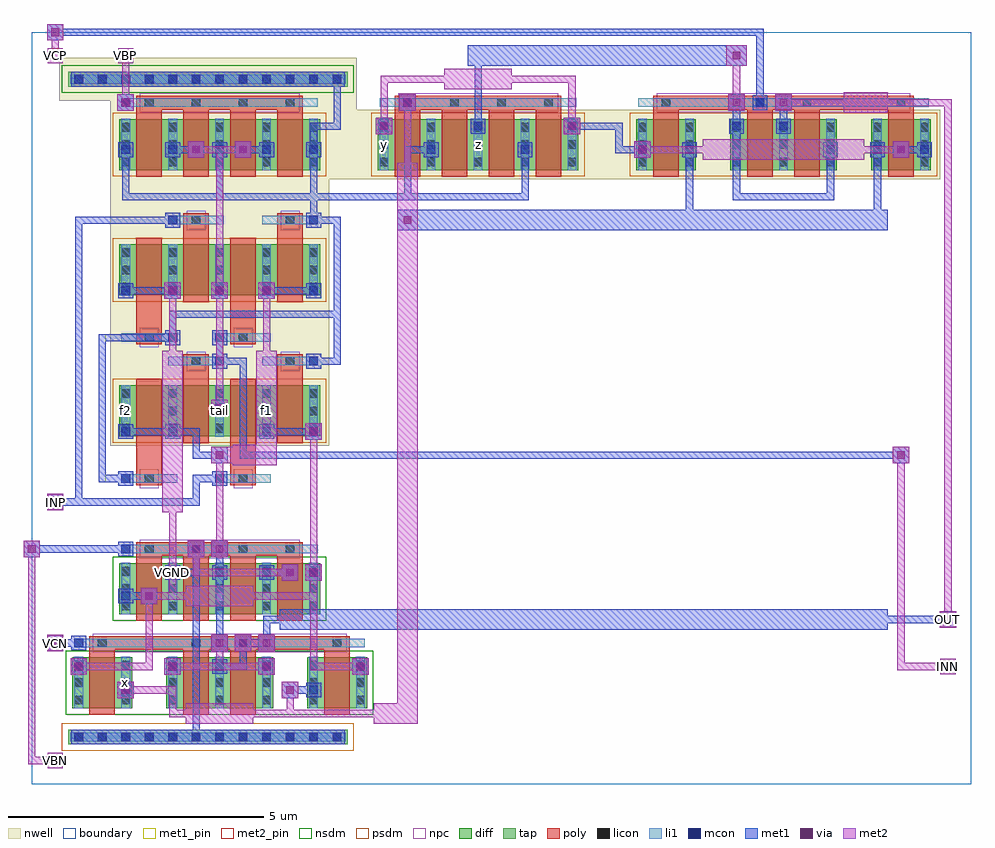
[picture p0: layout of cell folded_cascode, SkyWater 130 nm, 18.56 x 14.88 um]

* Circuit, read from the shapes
.subckt folded_cascode INN INP OUT VBN VBP VCN VCP VGND VPWR f1 f2 tail x y z
XM1 x VCN f1 VGND sky130_fd_pr__nfet_01v8 w=1 l=0.5 m=2
XM2 VGND VBN f1 VGND sky130_fd_pr__nfet_01v8 w=1 l=0.5 m=2
XM3 OUT VCN f2 VGND sky130_fd_pr__nfet_01v8 w=1 l=0.5 m=2
XM4 f2 VBN VGND VGND sky130_fd_pr__nfet_01v8 w=1 l=0.5 m=2
XM5 f2 VPWR f2 VPWR sky130_fd_pr__pfet_01v8 w=1 l=0.5 m=2
XM6 f1 VPWR f1 VPWR sky130_fd_pr__pfet_01v8 w=1 l=0.5 m=2
XM7 tail VBP VPWR VPWR sky130_fd_pr__pfet_01v8 w=1 l=0.5 m=4
XM8 tail INN f2 VPWR sky130_fd_pr__pfet_01v8 w=1 l=0.5 m=2
XM9 tail INP f1 VPWR sky130_fd_pr__pfet_01v8 w=1 l=0.5 m=2
XM10 VPWR x y VPWR sky130_fd_pr__pfet_01v8 w=1 l=0.5 m=2
XM11 z x VPWR VPWR sky130_fd_pr__pfet_01v8 w=1 l=0.5 m=2
XM12 x VCP y VPWR sky130_fd_pr__pfet_01v8 w=1 l=0.5 m=2
XM13 OUT VCP z VPWR sky130_fd_pr__pfet_01v8 w=1 l=0.5 m=2
.ends

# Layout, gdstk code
import gdstk
lib = gdstk.Library(unit=1e-6, precision=1e-09)
def R(c, l, rs):  # rectangles x0, y0, x1, y1
    for r in rs: c.add(gdstk.rectangle(r[:2], r[2:], *l))
def A(c, l, x, y, w, h, nx, ny, dx, dy):  # array of equal rectangles
    R(c, l, [(x+i*dx, y+j*dy, x+i*dx+w, y+j*dy+h) for i in range(nx) for j in range(ny)])
nwell = (64, 20)
diff = (65, 20)
tap = (65, 44)
poly = (66, 20)
licon = (66, 44)
li1 = (67, 20)
mcon = (67, 44)
met1_pin = (68, 16)
met1 = (68, 20)
via = (68, 44)
met2_pin = (69, 16)
met2 = (69, 20)
nsdm = (93, 44)
psdm = (94, 20)
npc = (95, 20)
boundary = (235, 4)

folded_cascode = lib.new_cell('folded_cascode')
R(folded_cascode, nwell, [(1.535,6.625,5.825,11.84), (1.535,11.84,17.785,13.2), (1.535,13.2,6.365,13.38), (0.535,13.38,6.365,14.22)])
R(folded_cascode, diff, [(0.795,1.485,1.965,2.485), (2.635,1.485,4.725,2.485), (5.395,1.485,6.565,2.485), (1.715,3.325,5.645,4.325), (1.715,6.805,5.645,7.805), (1.715,9.565,5.645,10.565), (1.715,12.02,5.645,13.02), (6.775,12.02,10.705,13.02), (11.835,12.02,13.005,13.02), (13.675,12.02,15.765,13.02), (16.435,12.02,17.605,13.02)])
R(folded_cascode, tap, [(0.715,0.775,6.185,1.065), (0.715,13.655,6.185,13.945)])
A(folded_cascode, poly, 2.05, 3.195, 0.5, 1.405, 4, 1, 0.92, 0)
A(folded_cascode, poly, 2.05, 11.89, 0.5, 1.45, 4, 1, 0.92, 0)
A(folded_cascode, poly, 7.11, 11.89, 0.5, 1.45, 4, 1, 0.92, 0)
R(folded_cascode, poly, [(1.13,1.355,1.63,2.76), (2.97,1.355,3.47,2.76), (3.89,1.355,4.39,2.76), (5.73,1.355,6.23,2.76), (1.13,2.625,6.23,2.895), (2.05,4.465,5.31,4.735), (2.05,5.845,2.55,6.115), (3.89,5.845,4.39,6.115), (2.05,5.98,2.55,7.935), (3.89,5.98,4.39,7.935), (2.97,6.675,3.47,8.28), (4.81,6.675,5.31,8.28), (2.97,8.145,3.47,8.415), (4.81,8.145,5.31,8.415), (2.05,8.605,2.55,8.875), (3.89,8.605,4.39,8.875), (2.05,8.74,2.55,10.695), (3.89,8.74,4.39,10.695), (2.97,9.435,3.47,11.04), (4.81,9.435,5.31,11.04), (2.97,10.905,3.47,11.175), (4.81,10.905,5.31,11.175), (12.17,11.89,12.67,13.34), (14.01,11.89,14.51,13.34), (14.93,11.89,15.43,13.34), (16.77,11.89,17.27,13.34), (2.05,13.205,5.31,13.475), (7.11,13.205,10.37,13.475), (12.17,13.205,17.27,13.475)])
A(folded_cascode, licon, 0.835, 0.835, 0.17, 0.17, 12, 2, 0.46, 12.88)
A(folded_cascode, licon, 0.835, 1.56, 0.17, 0.17, 7, 3, 0.92, 0.34)
A(folded_cascode, licon, 1.755, 3.4, 0.17, 0.17, 5, 3, 0.92, 0.34)
A(folded_cascode, licon, 2.215, 4.515, 0.17, 0.17, 4, 2, 0.92, 8.74)
A(folded_cascode, licon, 1.755, 6.88, 0.17, 0.17, 5, 3, 0.92, 0.34)
A(folded_cascode, licon, 1.755, 9.64, 0.17, 0.17, 5, 3, 0.92, 0.34)
A(folded_cascode, licon, 1.755, 12.095, 0.17, 0.17, 5, 3, 0.92, 0.34)
A(folded_cascode, licon, 6.815, 12.095, 0.17, 0.17, 5, 3, 0.92, 0.34)
A(folded_cascode, licon, 11.875, 12.095, 0.17, 0.17, 7, 3, 0.92, 0.34)
A(folded_cascode, licon, 7.275, 13.255, 0.17, 0.17, 4, 1, 0.92, 0)
R(folded_cascode, licon, [(1.295,2.675,1.465,2.845), (3.135,2.675,3.305,2.845), (4.055,2.675,4.225,2.845), (5.895,2.675,6.065,2.845), (2.215,5.895,2.385,6.065), (4.055,5.895,4.225,6.065), (3.135,8.195,3.305,8.365), (4.975,8.195,5.145,8.365), (2.215,8.655,2.385,8.825), (4.055,8.655,4.225,8.825), (3.135,10.955,3.305,11.125), (4.975,10.955,5.145,11.125), (12.335,13.255,12.505,13.425), (14.175,13.255,14.345,13.425), (15.095,13.255,15.265,13.425), (16.935,13.255,17.105,13.425)])
A(folded_cascode, li1, 0.835, 1.48, 0.17, 1.01, 7, 1, 0.92, 0)
A(folded_cascode, li1, 1.755, 3.32, 0.17, 1.01, 5, 2, 0.92, 3.48)
A(folded_cascode, li1, 1.755, 9.56, 0.17, 1.01, 5, 2, 0.92, 2.455)
A(folded_cascode, li1, 6.815, 12.015, 0.17, 1.01, 5, 1, 0.92, 0)
A(folded_cascode, li1, 11.875, 12.015, 0.17, 1.01, 7, 1, 0.92, 0)
R(folded_cascode, li1, [(0.755,0.835,6.145,1.005), (0.835,2.675,6.525,2.845), (1.755,4.515,5.605,4.685), (1.755,5.895,2.845,6.065), (3.595,5.895,4.685,6.065), (2.675,8.195,3.765,8.365), (4.515,8.195,5.605,8.365), (1.755,8.655,2.845,8.825), (3.595,8.655,4.685,8.825), (2.675,10.955,3.765,11.125), (4.515,10.955,5.605,11.125), (1.755,13.255,5.605,13.425), (6.815,13.255,10.665,13.425), (11.875,13.255,17.565,13.425), (0.755,13.715,6.145,13.885)])
A(folded_cascode, mcon, 0.835, 0.835, 0.17, 0.17, 12, 2, 0.46, 12.88)
A(folded_cascode, mcon, 2.675, 2.215, 0.17, 0.17, 3, 1, 0.92, 0)
A(folded_cascode, mcon, 2.675, 4.055, 0.17, 0.17, 4, 1, 0.92, 0)
A(folded_cascode, mcon, 1.755, 9.575, 0.17, 0.17, 5, 2, 0.92, 2.76)
A(folded_cascode, mcon, 15.555, 12.335, 0.17, 0.17, 3, 1, 0.92, 0)
A(folded_cascode, mcon, 6.815, 12.795, 0.17, 0.17, 3, 1, 1.84, 0)
R(folded_cascode, mcon, [(1.755,1.755,1.925,1.925), (5.435,1.755,5.605,1.925), (0.835,2.215,1.005,2.385), (6.355,2.215,6.525,2.385), (0.835,2.675,1.005,2.845), (1.755,3.595,1.925,3.765), (1.755,4.515,1.925,4.685), (1.755,5.895,1.925,6.065), (3.595,5.895,3.765,6.065), (1.755,6.815,1.925,6.985), (2.675,6.815,2.845,6.985), (4.515,6.815,4.685,6.985), (5.435,6.815,5.605,6.985), (3.595,7.275,3.765,7.445), (3.595,8.195,3.765,8.365), (5.435,8.195,5.605,8.365), (2.675,8.655,2.845,8.825), (3.595,8.655,3.765,8.825), (2.675,10.955,2.845,11.125), (5.435,10.955,5.605,11.125), (7.735,12.335,7.905,12.505), (9.575,12.335,9.745,12.505), (11.875,12.335,12.045,12.505), (12.795,12.335,12.965,12.505), (13.715,12.795,13.885,12.965), (14.635,12.795,14.805,12.965), (1.755,13.255,1.925,13.425), (7.275,13.255,7.445,13.425), (14.175,13.255,14.345,13.425)])
R(folded_cascode, met1_pin, [(2.615,3.995,2.905,4.285), (1.31,5.91,1.45,8.81)])
A(folded_cascode, met1, 0.76, 2.14, 0.32, 0.32, 4, 1, 1.84, 0)
A(folded_cascode, met1, 2.615, 2.155, 0.29, 0.29, 3, 1, 0.92, 0)
A(folded_cascode, met1, 3.52, 2.6, 0.32, 0.32, 3, 1, 0.46, 0)
A(folded_cascode, met1, 2.615, 3.995, 0.29, 0.29, 4, 1, 0.92, 0)
A(folded_cascode, met1, 2.6, 9.5, 0.32, 0.32, 3, 1, 0.92, 0)
A(folded_cascode, met1, 1.695, 9.515, 0.29, 0.29, 5, 2, 0.92, 2.76)
A(folded_cascode, met1, 1.77, 11.43, 1.98, 0.14, 3, 1, 1.84, 0)
A(folded_cascode, met1, 1.77, 11.43, 0.14, 1.06, 4, 1, 1.84, 0)
A(folded_cascode, met1, 15.495, 12.275, 0.29, 0.29, 3, 1, 0.92, 0)
A(folded_cascode, met1, 6.755, 12.735, 0.29, 0.29, 3, 1, 1.84, 0)
R(folded_cascode, met1, [(0.775,0.775,6.125,1.065), (3.15,0.85,3.29,0.99), (3.15,0.85,3.29,4.21), (1.68,1.68,2,2), (4.9,1.68,5.22,2), (1.695,1.695,1.985,1.985), (5.375,1.695,5.665,1.985), (4.99,1.77,5.59,1.91), (0.775,2.155,1.065,2.445), (6.295,2.155,6.585,2.445), (3.61,2.23,4.21,2.37), (4.07,2.23,4.21,2.83), (0.3,2.6,0.62,2.92), (0.775,2.615,1.065,2.905), (0.39,2.69,0.99,2.83), (3.61,2.69,3.75,4.21), (4.53,2.69,4.67,3.29), (4.86,3.02,16.76,3.42), (17.78,3.06,18.1,3.38), (4.53,3.15,5.13,3.29), (16.49,3.15,18.01,3.29), (2.14,3.52,2.46,3.84), (1.695,3.535,1.985,3.825), (1.77,3.61,2.37,3.75), (4.9,3.98,5.22,4.3), (5.36,3.98,5.68,4.3), (2.69,4.07,3.29,4.21), (3.15,4.07,3.29,4.67), (3.61,4.07,3.75,4.67), (4.53,4.07,5.13,4.21), (-0.16,4.44,0.16,4.76), (3.06,4.44,3.38,4.76), (3.52,4.44,3.84,4.76), (1.695,4.455,1.985,4.745), (-0.07,4.53,1.91,4.67), (0.3,5.36,0.62,5.68), (0.39,5.45,3.29,5.59), (0.85,5.45,0.99,11.11), (3.15,5.45,3.29,6.05), (1.695,5.835,1.985,6.125), (3.535,5.835,3.825,6.125), (1.31,5.91,1.45,8.81), (1.31,5.91,1.91,6.05), (3.15,5.91,3.75,6.05), (3.52,6.28,3.84,6.6), (16.86,6.28,17.18,6.6), (3.15,6.37,3.29,6.97), (3.15,6.37,3.75,6.51), (4.07,6.37,4.21,8.35), (4.07,6.37,17.09,6.51), (5.36,6.74,5.68,7.06), (1.695,6.755,1.985,7.045), (2.615,6.755,2.905,7.045), (4.455,6.755,4.745,7.045), (5.375,6.755,5.665,7.045), (1.77,6.83,2.83,6.97), (2.69,6.83,3.29,6.97), (4.53,6.83,5.59,6.97), (3.52,7.2,3.84,7.52), (3.535,7.215,3.825,7.505), (3.535,8.135,3.825,8.425), (5.375,8.135,5.665,8.425), (3.61,8.21,3.75,8.81), (3.61,8.21,4.21,8.35), (5.45,8.21,6.05,8.35), (5.91,8.21,6.05,11.11), (2.615,8.595,2.905,8.885), (3.535,8.595,3.825,8.885), (1.31,8.67,2.83,8.81), (2.69,8.67,2.83,9.27), (2.69,9.13,6.05,9.27), (1.77,9.59,2.83,9.73), (4.53,9.59,5.59,9.73), (7.16,10.84,13.08,11.24), (7.16,10.84,7.56,11.24), (12.68,10.84,16.76,11.24), (2.615,10.895,2.905,11.185), (5.375,10.895,5.665,11.185), (0.85,10.97,2.83,11.11), (5.45,10.97,5.59,11.57), (5.45,10.97,6.05,11.11), (12.81,10.97,12.95,12.49), (16.49,10.97,16.63,12.49), (7.29,11.43,9.73,11.57), (9.59,11.43,9.73,12.49), (13.73,11.43,13.87,12.95), (13.73,11.43,15.71,11.57), (15.57,11.43,15.71,12.49), (3.06,12.26,3.38,12.58), (3.98,12.26,4.3,12.58), (11.8,12.26,12.12,12.58), (16.86,12.26,17.18,12.58), (7.675,12.275,7.965,12.565), (9.515,12.275,9.805,12.565), (11.815,12.275,12.105,12.565), (12.735,12.275,13.025,12.565), (2.69,12.35,3.29,12.49), (4.07,12.35,4.67,12.49), (5.45,12.35,5.59,12.95), (7.29,12.35,7.89,12.49), (11.43,12.35,11.57,12.95), (11.43,12.35,12.03,12.49), (16.95,12.35,17.55,12.49), (6.74,12.72,7.06,13.04), (10.42,12.72,10.74,13.04), (13.655,12.735,13.945,13.025), (14.575,12.735,14.865,13.025), (5.45,12.81,6.05,12.95), (5.91,12.81,6.05,13.87), (8.67,12.81,8.81,14.33), (10.51,12.81,11.57,12.95), (13.73,12.81,13.87,13.41), (14.65,12.81,14.79,13.41), (1.68,13.18,2,13.5), (7.2,13.18,7.52,13.5), (13.64,13.18,13.96,13.5), (14.56,13.18,14.88,13.5), (1.695,13.195,1.985,13.485), (7.215,13.195,7.505,13.485), (14.115,13.195,14.405,13.485), (14.19,13.27,14.33,14.79), (0.775,13.655,6.125,13.945), (5.91,13.73,6.05,13.87), (8.54,14.06,14,14.46), (13.6,14.06,14,14.46), (0.3,14.56,0.62,14.88), (0.39,14.65,14.33,14.79)])
A(folded_cascode, via, 0.845, 2.225, 0.15, 0.15, 4, 1, 1.84, 0)
A(folded_cascode, via, 3.605, 2.685, 0.15, 0.15, 3, 1, 0.46, 0)
A(folded_cascode, via, 2.685, 9.585, 0.15, 0.15, 3, 1, 0.92, 0)
R(folded_cascode, via, [(1.765,1.765,1.915,1.915), (4.985,1.765,5.135,1.915), (0.385,2.685,0.535,2.835), (17.865,3.145,18.015,3.295), (2.225,3.605,2.375,3.755), (4.985,4.065,5.135,4.215), (5.445,4.065,5.595,4.215), (-0.075,4.525,0.075,4.675), (3.145,4.525,3.295,4.675), (3.605,4.525,3.755,4.675), (0.385,5.445,0.535,5.595), (3.605,6.365,3.755,6.515), (16.945,6.365,17.095,6.515), (5.445,6.825,5.595,6.975), (3.605,7.285,3.755,7.435), (7.285,10.965,7.435,11.115), (3.145,12.345,3.295,12.495), (4.065,12.345,4.215,12.495), (11.885,12.345,12.035,12.495), (16.945,12.345,17.095,12.495), (6.825,12.805,6.975,12.955), (10.505,12.805,10.655,12.955), (1.765,13.265,1.915,13.415), (7.285,13.265,7.435,13.415), (13.725,13.265,13.875,13.415), (14.645,13.265,14.795,13.415), (13.725,14.185,13.875,14.335), (0.385,14.645,0.535,14.795)])
R(folded_cascode, met2_pin, [(0.31,0.31,0.61,0.61), (17.79,2.15,18.09,2.45), (0.31,2.61,0.61,2.91), (17.79,3.07,18.09,3.37), (0.31,5.37,0.61,5.67), (0.31,14.11,0.61,14.41), (1.69,14.11,1.99,14.41)])
A(folded_cascode, met2, 0.76, 2.14, 0.32, 0.32, 4, 1, 1.84, 0)
A(folded_cascode, met2, 3.52, 2.6, 0.32, 0.32, 3, 1, 0.46, 0)
A(folded_cascode, met2, 2.6, 9.5, 0.32, 0.32, 3, 1, 0.92, 0)
R(folded_cascode, met2, [(0.31,0.31,0.61,0.61), (-0.07,0.39,0.53,0.53), (-0.07,0.39,0.07,4.67), (0.39,0.39,0.53,0.53), (3.02,1.18,4.34,1.58), (6.7,1.18,7.56,1.58), (7.16,1.18,7.56,12.16), (2.69,1.31,3.29,1.45), (2.69,1.31,2.83,1.91), (4.07,1.31,5.13,1.45), (4.99,1.31,5.13,1.91), (4.99,1.31,6.97,1.45), (1.68,1.68,2,2), (4.9,1.68,5.22,2), (1.77,1.77,2.83,1.91), (17.79,2.15,18.09,2.45), (0.85,2.23,2.37,2.37), (2.23,2.23,2.37,3.75), (2.69,2.23,3.75,2.37), (3.61,2.23,4.67,2.37), (3.61,2.23,3.75,2.83), (5.45,2.23,6.51,2.37), (5.45,2.23,5.59,4.21), (16.95,2.23,18.01,2.37), (16.95,2.23,17.09,6.51), (17.87,2.23,18.01,2.37), (0.3,2.6,0.62,2.92), (0.31,2.61,0.61,2.91), (0.39,2.69,0.53,2.83), (4.07,2.69,4.67,2.83), (17.78,3.06,18.1,3.38), (17.79,3.07,18.09,3.37), (17.87,3.15,18.01,13.41), (17.87,3.15,18.01,3.29), (3.02,3.48,4.34,3.88), (2.14,3.52,2.46,3.84), (2.23,3.61,3.29,3.75), (2.69,3.61,2.83,5.59), (4.07,3.61,5.59,3.75), (4.9,3.98,5.22,4.3), (5.36,3.98,5.68,4.3), (3.15,4.07,3.29,4.67), (3.15,4.07,5.13,4.21), (5.45,4.07,5.59,6.97), (-0.16,4.44,0.16,4.76), (3.06,4.44,3.38,4.76), (3.52,4.44,3.84,4.76), (3.61,4.53,3.75,6.51), (2.56,5.32,2.96,8.48), (0.3,5.36,0.62,5.68), (0.31,5.37,0.61,5.67), (0.39,5.45,0.53,5.59), (3.94,6.24,4.8,6.64), (4.4,6.24,4.8,8.48), (3.52,6.28,3.84,6.6), (3.84,6.28,3.94,6.6), (16.86,6.28,17.18,6.6), (3.61,6.37,4.21,6.51), (5.36,6.74,5.68,7.06), (3.52,7.2,3.84,7.52), (3.61,7.29,3.75,9.73), (2.69,8.21,2.83,9.73), (4.53,8.21,4.67,9.73), (3.61,9.59,3.75,12.49), (7.16,10.84,7.56,11.24), (7.29,11.89,7.43,13.41), (13.14,12.22,16.3,12.62), (3.06,12.26,3.38,12.58), (3.98,12.26,4.3,12.58), (11.8,12.26,12.12,12.58), (16.86,12.26,17.18,12.58), (3.15,12.35,3.75,12.49), (3.61,12.35,4.21,12.49), (11.89,12.35,13.41,12.49), (16.03,12.35,17.09,12.49), (6.74,12.72,7.06,13.04), (10.42,12.72,10.74,13.04), (6.83,12.81,6.97,13.87), (10.51,12.81,10.65,13.87), (15.9,13.14,16.76,13.54), (1.68,13.18,2,13.5), (7.2,13.18,7.52,13.5), (13.64,13.18,13.96,13.5), (14.56,13.18,14.88,13.5), (1.77,13.27,1.91,14.33), (13.73,13.27,13.87,14.33), (14.65,13.27,16.17,13.41), (16.49,13.27,18.01,13.41), (8.08,13.6,9.4,14), (6.83,13.73,8.35,13.87), (9.13,13.73,10.65,13.87), (13.6,14.06,14,14.46), (0.31,14.11,0.61,14.41), (1.69,14.11,1.99,14.41), (0.39,14.19,0.53,14.33), (0.39,14.19,0.53,14.79), (1.77,14.19,1.91,14.33), (0.3,14.56,0.62,14.88)])
R(folded_cascode, nsdm, [(0.67,1.36,6.69,2.61), (1.59,3.2,5.77,4.45), (0.59,13.53,6.31,14.07)])
R(folded_cascode, psdm, [(0.59,0.65,6.31,1.19), (1.59,6.68,5.77,7.93), (1.59,9.44,5.77,10.69), (1.59,11.895,5.77,13.145), (6.65,11.895,10.83,13.145), (11.71,11.895,17.73,13.145)])
R(folded_cascode, npc, [(1.195,2.575,6.165,2.945), (2.115,4.415,5.245,4.785), (2.115,5.795,2.485,6.165), (3.955,5.795,4.325,6.165), (3.035,8.095,3.405,8.465), (4.875,8.095,5.245,8.465), (2.115,8.555,2.485,8.925), (3.955,8.555,4.325,8.925), (3.035,10.855,3.405,11.225), (4.875,10.855,5.245,11.225), (2.115,13.155,5.245,13.525), (7.175,13.155,10.305,13.525), (12.235,13.155,17.205,13.525)])
R(folded_cascode, boundary, [(0,0,18.4,14.72)])
folded_cascode.add(gdstk.Label('f2', (1.84,7.305), layer=67, texttype=5))
folded_cascode.add(gdstk.Label('tail', (3.68,7.305), layer=67, texttype=5))
folded_cascode.add(gdstk.Label('f1', (4.6,7.305), layer=67, texttype=5))
folded_cascode.add(gdstk.Label('x', (1.84,1.985), layer=67, texttype=5))
folded_cascode.add(gdstk.Label('y', (6.9,12.52), layer=67, texttype=5))
folded_cascode.add(gdstk.Label('z', (8.74,12.52), layer=67, texttype=5))
folded_cascode.add(gdstk.Label('VPWR', (1.38,7.36), layer=68, texttype=5))
folded_cascode.add(gdstk.Label('VGND', (2.76,4.14), layer=68, texttype=5))
folded_cascode.add(gdstk.Label('INP', (0.46,5.52), layer=69, texttype=5))
folded_cascode.add(gdstk.Label('INN', (17.94,2.3), layer=69, texttype=5))
folded_cascode.add(gdstk.Label('VBP', (1.84,14.26), layer=69, texttype=5))
folded_cascode.add(gdstk.Label('VBN', (0.46,0.46), layer=69, texttype=5))
folded_cascode.add(gdstk.Label('VCN', (0.46,2.76), layer=69, texttype=5))
folded_cascode.add(gdstk.Label('VCP', (0.46,14.26), layer=69, texttype=5))
folded_cascode.add(gdstk.Label('OUT', (17.94,3.22), layer=69, texttype=5))
folded_cascode.add(gdstk.Label('VPWR', (1.38,7.36), layer=68, texttype=16))
folded_cascode.add(gdstk.Label('VGND', (2.76,4.14), layer=68, texttype=16))
folded_cascode.add(gdstk.Label('INP', (0.46,5.52), layer=69, texttype=16))
folded_cascode.add(gdstk.Label('INN', (17.94,2.3), layer=69, texttype=16))
folded_cascode.add(gdstk.Label('VBP', (1.84,14.26), layer=69, texttype=16))
folded_cascode.add(gdstk.Label('VBN', (0.46,0.46), layer=69, texttype=16))
folded_cascode.add(gdstk.Label('VCN', (0.46,2.76), layer=69, texttype=16))
folded_cascode.add(gdstk.Label('VCP', (0.46,14.26), layer=69, texttype=16))
folded_cascode.add(gdstk.Label('OUT', (17.94,3.22), layer=69, texttype=16))

lib.write_gds('folded_cascode.gds')
